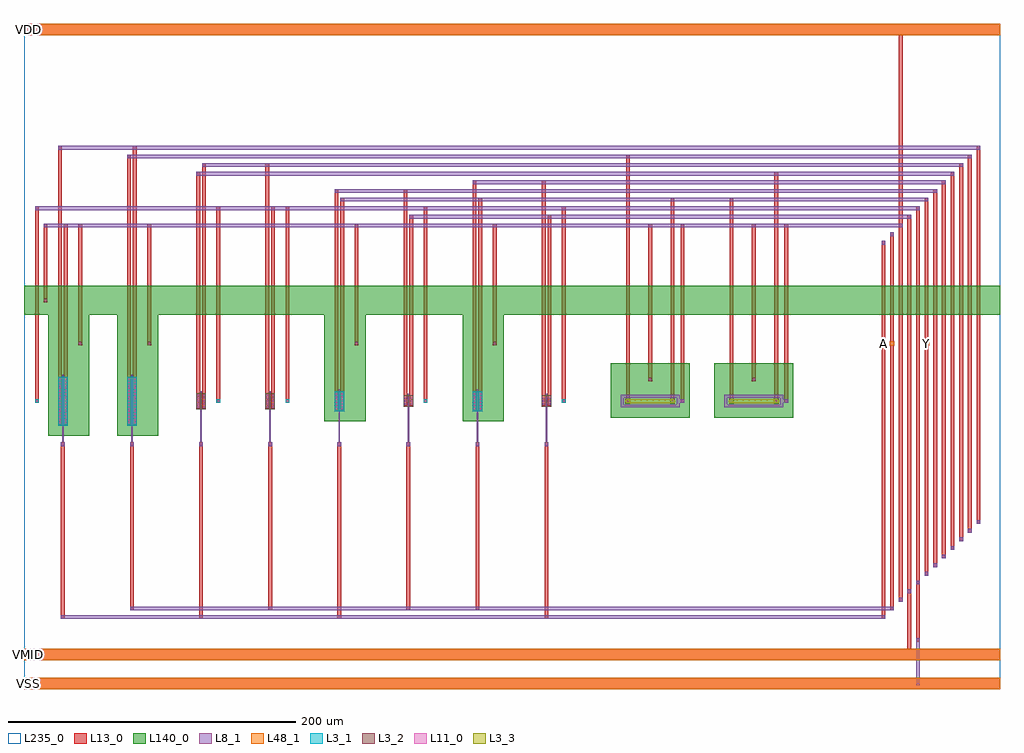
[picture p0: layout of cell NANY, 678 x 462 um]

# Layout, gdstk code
import gdstk
lib = gdstk.Library(unit=1e-6, precision=1e-09)
def R(c, l, rs):  # rectangles x0, y0, x1, y1
    for r in rs: c.add(gdstk.rectangle(r[:2], r[2:], *l))
def A(c, l, x, y, w, h, nx, ny, dx, dy):  # array of equal rectangles
    R(c, l, [(x+i*dx, y+j*dy, x+i*dx+w, y+j*dy+h) for i in range(nx) for j in range(ny)])
def P(c, l, *ps):  # polygons
    for p in ps: c.add(gdstk.Polygon(p, *l))
L3_1 = (3, 1)
L3_2 = (3, 2)
L3_3 = (3, 3)
L8_1 = (8, 1)
L11_0 = (11, 0)
L13_0 = (13, 0)
L48_1 = (48, 1)
L140_0 = (140, 0)
L235_0 = (235, 0)

fet_p__nany = lib.new_cell('fet_p__NANY')
R(fet_p__nany, L3_1, [(-3.3,-17,3.3,17)])
A(fet_p__nany, L11_0, -2.5, -15.5, 1, 1, 1, 16, 0, 2)
A(fet_p__nany, L11_0, 1.5, -15.5, 1, 1, 1, 16, 0, 2)
R(fet_p__nany, L13_0, [(-3.3,-16.3,-0.7,16.3), (0.7,-16.3,3.3,16.3)])
fet_p__nany.add(gdstk.FlexPath([(0,-18.2),(0,18.2)], 1, ends="flush", simple_path=True, layer=8, datatype=1))  # L8_1

cont_g__nany = lib.new_cell('cont_g__NANY')
R(cont_g__nany, L8_1, [(-1.3,-1.3,1.3,1.3)])
R(cont_g__nany, L11_0, [(-0.5,-0.5,0.5,0.5)])
R(cont_g__nany, L13_0, [(-1.3,-1.3,1.3,1.3)])

cont_n__nany = lib.new_cell('cont_n__NANY')
R(cont_n__nany, L3_2, [(-1.3,-1.3,1.3,1.3)])
R(cont_n__nany, L11_0, [(-0.5,-0.5,0.5,0.5)])
R(cont_n__nany, L13_0, [(-1.3,-1.3,1.3,1.3)])

fet_n__nany = lib.new_cell('fet_n__NANY')
R(fet_n__nany, L3_2, [(-3.3,-5.5,3.3,5.5)])
A(fet_n__nany, L11_0, -2.5, -4.5, 1, 1, 1, 5, 0, 2)
A(fet_n__nany, L11_0, 1.5, -4.5, 1, 1, 1, 5, 0, 2)
R(fet_n__nany, L13_0, [(-3.3,-5.3,-0.7,5.3), (0.7,-5.3,3.3,5.3)])
fet_n__nany.add(gdstk.FlexPath([(0,-6.7),(0,6.7)], 1, ends="flush", simple_path=True, layer=8, datatype=1))  # L8_1

cont_p__nany = lib.new_cell('cont_p__NANY')
R(cont_p__nany, L3_1, [(-1.3,-1.3,1.3,1.3)])
R(cont_p__nany, L11_0, [(-0.5,-0.5,0.5,0.5)])
R(cont_p__nany, L13_0, [(-1.3,-1.3,1.3,1.3)])

fet_p_1__nany = lib.new_cell('fet_p$1__NANY')
R(fet_p_1__nany, L3_1, [(-3.3,-7,3.3,7)])
A(fet_p_1__nany, L11_0, -2.5, -5.5, 1, 1, 1, 6, 0, 2)
A(fet_p_1__nany, L11_0, 1.5, -5.5, 1, 1, 1, 6, 0, 2)
R(fet_p_1__nany, L13_0, [(-3.3,-6.3,-0.7,6.3), (0.7,-6.3,3.3,6.3)])
fet_p_1__nany.add(gdstk.FlexPath([(0,-8.2),(0,8.2)], 1, ends="flush", simple_path=True, layer=8, datatype=1))  # L8_1

fet_n_1__nany = lib.new_cell('fet_n$1__NANY')
R(fet_n_1__nany, L3_2, [(-3.3,-4,3.3,4)])
A(fet_n_1__nany, L11_0, -2.5, -2.5, 1, 1, 1, 3, 0, 2)
A(fet_n_1__nany, L11_0, 1.5, -2.5, 1, 1, 1, 3, 0, 2)
R(fet_n_1__nany, L13_0, [(-3.3,-3.3,-0.7,3.3), (0.7,-3.3,3.3,3.3)])
fet_n_1__nany.add(gdstk.FlexPath([(0,-5.2),(0,5.2)], 1, ends="flush", simple_path=True, layer=8, datatype=1))  # L8_1

res_diff__nany = lib.new_cell('res_diff__NANY')
P(res_diff__nany, L3_3, [(-16.5,-1.4),(-17.5,-0.4),(-17.5,0.4),(-16.5,1.4),(16.5,1.4),(17.5,0.4),(17.5,-0.4),(16.5,-1.4)])
P(res_diff__nany, L8_1, [(-20.5,-4.4),(-20.5,2.4),(-18.5,2.4),(-18.5,-2.4),(18.5,-2.4),(18.5,2.4),(-20.5,2.4),(-20.5,4.4),(20.5,4.4),(20.5,-4.4)])
R(res_diff__nany, L11_0, [(-16,-0.5,-15,0.5), (15,-0.5,16,0.5)])
R(res_diff__nany, L13_0, [(-17.2,-1.7,-13.8,1.7), (13.8,-1.7,17.2,1.7)])

nany = lib.new_cell('NANY')
A(nany, L8_1, 26.5, 169.5, 1, 31, 8, 1, 48, 0)
R(nany, L8_1, [(619.7,2.7,622.3,35.3), (25.7,48.7,598.3,51.3), (73.7,54.7,604.3,57.3), (454.2,198.7,458.8,201.3), (526.2,198.7,530.8,201.3), (13.7,320.7,610.3,323.3), (267.7,326.7,616.3,329.3), (7.7,332.7,622.3,335.3), (219.7,338.7,628.3,341.3), (215.7,344.7,634.3,347.3), (311.7,350.7,640.3,353.3), (119.7,356.7,646.3,359.3), (123.7,362.7,652.3,365.3), (71.7,368.7,658.3,371.3), (23.7,374.7,664.3,377.3)])
A(nany, L13_0, 25.7, 48.7, 2.6, 122.6, 3, 1, 96, 0)
A(nany, L13_0, 73.7, 54.7, 2.6, 116.6, 3, 1, 96, 0)
A(nany, L13_0, 181.7, 198.7, 2.6, 136.6, 3, 1, 96, 0)
R(nany, L13_0, [(0,0,678,8), (0,20,678,28), (613.7,22.7,616.3,69.3), (619.7,32.7,622.3,75.3), (361.7,48.7,364.3,171.3), (595.7,48.7,598.3,311.3), (313.7,54.7,316.3,171.3), (601.7,54.7,604.3,317.3), (607.7,60.7,610.3,323.3), (613.7,66.7,616.3,329.3), (619.7,72.7,622.3,335.3), (625.7,78.7,628.3,341.3), (631.7,84.7,634.3,347.3), (637.7,90.7,640.3,353.3), (643.7,96.7,646.3,359.3), (649.7,102.7,652.3,365.3), (655.7,108.7,658.3,371.3), (661.7,114.7,664.3,377.3), (7.7,198.7,10.3,335.3), (23.7,198.7,26.3,377.3), (27.7,198.7,30.3,323.3), (71.7,198.7,74.3,371.3), (75.7,198.7,78.3,377.3), (119.7,198.7,122.3,359.3), (123.7,198.7,126.3,365.3), (133.7,198.7,136.3,335.3), (167.7,198.7,170.3,365.3), (171.7,198.7,174.3,335.3), (215.7,198.7,218.3,347.3), (219.7,198.7,222.3,341.3), (263.7,198.7,266.3,347.3), (267.7,198.7,270.3,329.3), (311.7,198.7,314.3,353.3), (315.7,198.7,318.3,341.3), (359.7,198.7,362.3,353.3), (363.7,198.7,366.3,329.3), (418.2,198.7,420.8,371.3), (449.2,198.7,451.8,341.3), (456.2,198.7,458.8,323.3), (490.2,198.7,492.8,341.3), (521.2,198.7,523.8,359.3), (528.2,198.7,530.8,323.3), (433.7,213.7,436.3,323.3), (505.7,213.7,508.3,323.3), (595.3,238.3,598.7,241.7), (601.3,238.3,604.7,241.7), (625.3,238.3,628.7,241.7), (37.7,238.7,40.3,323.3), (85.7,238.7,88.3,323.3), (229.7,238.7,232.3,323.3), (325.7,238.7,328.3,323.3), (13.7,268.7,16.3,323.3), (607.7,320.7,610.3,459.3), (0,454,678,462)])
R(nany, L48_1, [(0,0,678,8), (0,20,678,28), (595.3,238.3,598.7,241.7), (601.3,238.3,604.7,241.7), (625.3,238.3,628.7,241.7), (0,454,678,462)])
R(nany, L140_0, [(16.7,176,45.3,280), (64.7,176,93.3,280), (208.7,186,237.3,280), (304.7,186,333.3,280), (407.5,188.6,462.5,226.4), (479.5,188.6,534.5,226.4), (0,260,678,280)])
R(nany, L235_0, [(0,0,678,462)])
nany.add(gdstk.Reference(fet_p__nany, (27,200)))
nany.add(gdstk.Reference(cont_g__nany, (27,170)))
nany.add(gdstk.Reference(cont_n__nany, (39,240)))
nany.add(gdstk.Reference(fet_p__nany, (75,200)))
nany.add(gdstk.Reference(cont_g__nany, (75,170)))
nany.add(gdstk.Reference(cont_n__nany, (87,240)))
nany.add(gdstk.Reference(fet_n__nany, (123,200)))
nany.add(gdstk.Reference(cont_g__nany, (123,170)))
nany.add(gdstk.Reference(cont_p__nany, (135,200)))
nany.add(gdstk.Reference(fet_n__nany, (171,200)))
nany.add(gdstk.Reference(cont_g__nany, (171,170)))
nany.add(gdstk.Reference(cont_p__nany, (183,200)))
nany.add(gdstk.Reference(fet_p_1__nany, (219,200)))
nany.add(gdstk.Reference(cont_g__nany, (219,170)))
nany.add(gdstk.Reference(cont_n__nany, (231,240)))
nany.add(gdstk.Reference(fet_n_1__nany, (267,200)))
nany.add(gdstk.Reference(cont_g__nany, (267,170)))
nany.add(gdstk.Reference(cont_p__nany, (279,200)))
nany.add(gdstk.Reference(fet_p_1__nany, (315,200)))
nany.add(gdstk.Reference(cont_g__nany, (315,170)))
nany.add(gdstk.Reference(cont_n__nany, (327,240)))
nany.add(gdstk.Reference(fet_n_1__nany, (363,200)))
nany.add(gdstk.Reference(cont_g__nany, (363,170)))
nany.add(gdstk.Reference(cont_p__nany, (375,200)))
nany.add(gdstk.Reference(res_diff__nany, (435,200)))
nany.add(gdstk.Reference(cont_n__nany, (435,215)))
nany.add(gdstk.Reference(cont_g__nany, (457.5,200)))
nany.add(gdstk.Reference(res_diff__nany, (507,200)))
nany.add(gdstk.Reference(cont_n__nany, (507,215)))
nany.add(gdstk.Reference(cont_g__nany, (529.5,200)))
nany.add(gdstk.Reference(cont_n__nany, (15,270)))
nany.add(gdstk.Reference(cont_p__nany, (9,200)))
nany.add(gdstk.Reference(cont_g__nany, (27,50)))
nany.add(gdstk.Reference(cont_g__nany, (123,50)))
nany.add(gdstk.Reference(cont_g__nany, (219,50)))
nany.add(gdstk.Reference(cont_g__nany, (363,50)))
nany.add(gdstk.Reference(cont_g__nany, (597,50)))
nany.add(gdstk.Reference(cont_g__nany, (597,310)))
nany.add(gdstk.Reference(cont_g__nany, (75,56)))
nany.add(gdstk.Reference(cont_g__nany, (171,56)))
nany.add(gdstk.Reference(cont_g__nany, (267,56)))
nany.add(gdstk.Reference(cont_g__nany, (315,56)))
nany.add(gdstk.Reference(cont_g__nany, (603,56)))
nany.add(gdstk.Reference(cont_g__nany, (603,316)))
nany.add(gdstk.Reference(cont_g__nany, (609,62)))
nany.add(gdstk.Reference(cont_g__nany, (29,322)))
nany.add(gdstk.Reference(cont_g__nany, (39,322)))
nany.add(gdstk.Reference(cont_g__nany, (87,322)))
nany.add(gdstk.Reference(cont_g__nany, (231,322)))
nany.add(gdstk.Reference(cont_g__nany, (327,322)))
nany.add(gdstk.Reference(cont_g__nany, (435,322)))
nany.add(gdstk.Reference(cont_g__nany, (457.5,322)))
nany.add(gdstk.Reference(cont_g__nany, (507,322)))
nany.add(gdstk.Reference(cont_g__nany, (529.5,322)))
nany.add(gdstk.Reference(cont_g__nany, (15,322)))
nany.add(gdstk.Reference(cont_g__nany, (609,322)))
nany.add(gdstk.Reference(cont_g__nany, (615,68)))
nany.add(gdstk.Reference(cont_g__nany, (269,328)))
nany.add(gdstk.Reference(cont_g__nany, (365,328)))
nany.add(gdstk.Reference(cont_g__nany, (615,328)))
nany.add(gdstk.Reference(cont_g__nany, (621,74)))
nany.add(gdstk.Reference(cont_g__nany, (135,334)))
nany.add(gdstk.Reference(cont_g__nany, (173,334)))
nany.add(gdstk.Reference(cont_g__nany, (183,334)))
nany.add(gdstk.Reference(cont_g__nany, (279,334)))
nany.add(gdstk.Reference(cont_g__nany, (375,334)))
nany.add(gdstk.Reference(cont_g__nany, (9,334)))
nany.add(gdstk.Reference(cont_g__nany, (621,334)))
nany.add(gdstk.Reference(cont_g__nany, (621,34)))
nany.add(gdstk.Reference(cont_g__nany, (621,4)))
nany.add(gdstk.Reference(cont_g__nany, (627,80)))
nany.add(gdstk.Reference(cont_g__nany, (221,340)))
nany.add(gdstk.Reference(cont_g__nany, (317,340)))
nany.add(gdstk.Reference(cont_g__nany, (450.5,340)))
nany.add(gdstk.Reference(cont_g__nany, (491.5,340)))
nany.add(gdstk.Reference(cont_g__nany, (627,340)))
nany.add(gdstk.Reference(cont_g__nany, (633,86)))
nany.add(gdstk.Reference(cont_g__nany, (217,346)))
nany.add(gdstk.Reference(cont_g__nany, (265,346)))
nany.add(gdstk.Reference(cont_g__nany, (633,346)))
nany.add(gdstk.Reference(cont_g__nany, (639,92)))
nany.add(gdstk.Reference(cont_g__nany, (313,352)))
nany.add(gdstk.Reference(cont_g__nany, (361,352)))
nany.add(gdstk.Reference(cont_g__nany, (639,352)))
nany.add(gdstk.Reference(cont_g__nany, (645,98)))
nany.add(gdstk.Reference(cont_g__nany, (121,358)))
nany.add(gdstk.Reference(cont_g__nany, (522.5,358)))
nany.add(gdstk.Reference(cont_g__nany, (645,358)))
nany.add(gdstk.Reference(cont_g__nany, (651,104)))
nany.add(gdstk.Reference(cont_g__nany, (125,364)))
nany.add(gdstk.Reference(cont_g__nany, (169,364)))
nany.add(gdstk.Reference(cont_g__nany, (651,364)))
nany.add(gdstk.Reference(cont_g__nany, (657,110)))
nany.add(gdstk.Reference(cont_g__nany, (73,370)))
nany.add(gdstk.Reference(cont_g__nany, (419.5,370)))
nany.add(gdstk.Reference(cont_g__nany, (657,370)))
nany.add(gdstk.Reference(cont_g__nany, (663,116)))
nany.add(gdstk.Reference(cont_g__nany, (25,376)))
nany.add(gdstk.Reference(cont_g__nany, (77,376)))
nany.add(gdstk.Reference(cont_g__nany, (663,376)))
nany.add(gdstk.Label('A', (597,240), layer=48, texttype=0))
nany.add(gdstk.Label('B', (603,240), layer=48, texttype=0))
nany.add(gdstk.Label('Y', (627,240), layer=48, texttype=0))
nany.add(gdstk.Label('VDD', (3,458), layer=48, texttype=0))
nany.add(gdstk.Label('VMID', (3,24), layer=48, texttype=0))
nany.add(gdstk.Label('VSS', (3,4), layer=48, texttype=0))

lib.write_gds('NANY.gds')
